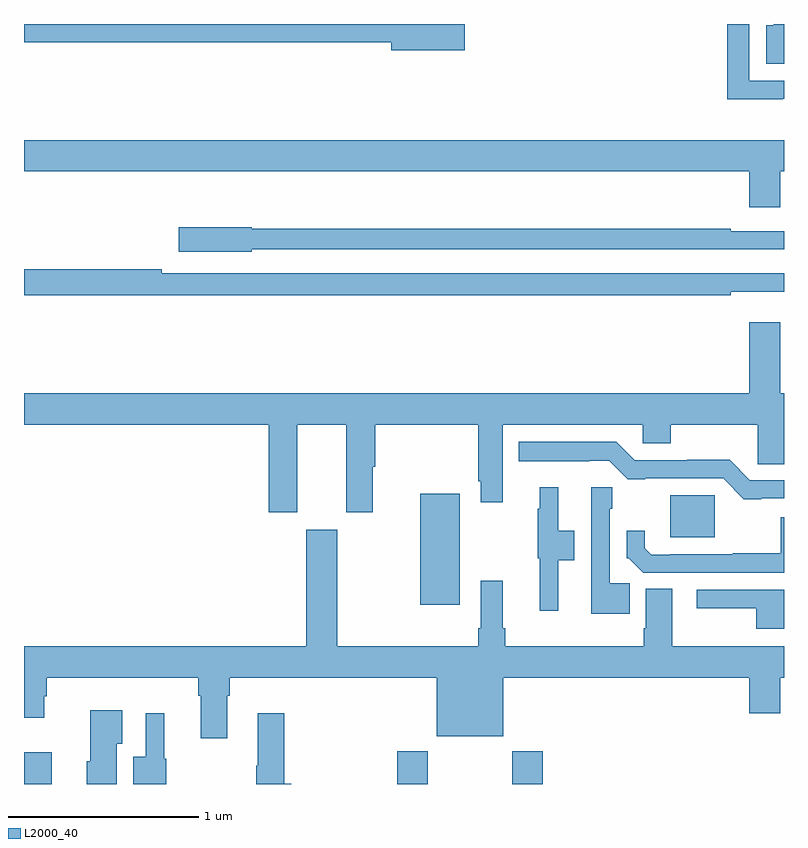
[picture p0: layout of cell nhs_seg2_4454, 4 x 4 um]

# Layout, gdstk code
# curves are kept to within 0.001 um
import gdstk
lib = gdstk.Library(unit=1e-6, precision=1e-09)
def R(c, l, rs):  # rectangles x0, y0, x1, y1
    for r in rs: c.add(gdstk.rectangle(r[:2], r[2:], *l))
def P(c, l, *ps):  # polygons
    for p in ps: c.add(gdstk.Polygon(p, *l))
L2000_40 = (2000, 40)

nhs_seg2_4454 = lib.new_cell('nhs_seg2_4454')
R(nhs_seg2_4454, L2000_40, [(353,589.8,353.146,589.966), (354.965,589.8,355.125,589.972), (355.57,589.8,355.73,589.972), (355.085,590.744,355.294,591.328), (356.402,591.098,356.635,591.319)])
P(nhs_seg2_4454, L2000_40, [(356.993,593.406),(357,593.406),(357,593.502),(356.817,593.502),(356.817,593.8),(356.701,593.8),(356.701,593.405),(356.993,593.405)],
  [(357,593.8),(356.945,593.8),(356.945,593.794),(356.906,593.794),(356.906,593.591),(357,593.591)],
  [(355.321,593.8),(353,593.8),(353,593.704),(354.932,593.704),(354.932,593.662),(355.321,593.662)],
  [(356.98,593.024),(357,593.024),(357,593.188),(353,593.188),(353,593.024),(356.816,593.024),(356.816,592.836),(356.98,592.836)],
  [(354.198,592.614),(357,592.614),(357,592.71),(356.72,592.71),(356.72,592.723),(354.198,592.723),(354.198,592.731),(353.814,592.731),(353.814,592.601),(354.198,592.601)],
  [(356.72,592.391),(357,592.391),(357,592.488),(353.726,592.488),(353.726,592.508),(353,592.508),(353,592.372),(356.72,592.372)],
  [(354.439,591.692),(354.695,591.692),(354.695,591.231),(354.835,591.231),(354.835,591.47),(354.848,591.47),(354.848,591.692),(355.391,591.692),(355.391,591.394),(355.403,591.394),(355.403,591.282),(355.519,591.282),(355.519,591.692),(356.256,591.692),(356.256,591.594),(356.403,591.594),(356.403,591.692),(356.862,591.692),(356.862,591.484),(357,591.484),(357,591.856),(356.98,591.856),(356.98,592.231),(356.816,592.231),(356.816,591.856),(353,591.856),(353,591.692),(354.287,591.692),(354.287,591.231),(354.439,591.231)],
  [(356.881,591.303),(357,591.303),(357,591.399),(356.82,591.399),(356.714,591.506),(356.491,591.506),(356.491,591.504),(356.214,591.504),(356.117,591.601),(355.604,591.601),(355.604,591.5),(356.079,591.501),(356.177,591.403),(356.269,591.403),(356.269,591.408),(356.679,591.408),(356.789,591.298),(356.881,591.298)],
  [(356.188,590.857),(356.082,590.857),(356.082,591.248),(356.095,591.248),(356.095,591.361),(355.986,591.361),(355.986,590.696),(356.188,590.696)],
  [(355.813,590.977),(355.897,590.977),(355.897,591.132),(355.813,591.132),(355.813,591.361),(355.715,591.361),(355.715,591.248),(355.704,591.248),(355.704,590.988),(355.715,590.988),(355.715,590.712),(355.813,590.712)],
  [(357,591.205),(356.982,591.205),(356.982,591.014),(356.731,591.014),(356.731,591.009),(356.401,591.009),(356.401,591.006),(356.302,591.006),(356.267,591.042),(356.267,591.133),(356.172,591.133),(356.172,590.988),(356.183,590.988),(356.258,590.913),(357,590.913)],
  [(354.07,590.264),(354.083,590.264),(354.083,590.36),(355.172,590.36),(355.172,590.051),(355.522,590.051),(355.522,590.36),(356.816,590.36),(356.816,590.172),(356.98,590.172),(356.98,590.36),(357,590.36),(357,590.524),(356.413,590.524),(356.413,590.828),(356.273,590.828),(356.273,590.62),(356.261,590.62),(356.261,590.524),(355.532,590.524),(355.532,590.62),(355.519,590.62),(355.519,590.869),(355.403,590.869),(355.403,590.62),(355.391,590.62),(355.391,590.524),(354.649,590.524),(354.649,591.139),(354.485,591.139),(354.485,590.524),(353,590.524),(353,590.148),(353.107,590.148),(353.107,590.262),(353.12,590.262),(353.12,590.36),(353.918,590.36),(353.918,590.264),(353.93,590.264),(353.93,590.04),(354.07,590.04)],
  [(357,590.823),(356.541,590.823),(356.541,590.726),(356.854,590.726),(356.854,590.616),(357,590.616)],
  [(353.488,590.012),(353.518,590.012),(353.518,590.188),(353.348,590.188),(353.348,589.92),(353.33,589.92),(353.33,589.8),(353.488,589.8)],
  [(354.406,589.801),(354.371,589.801),(354.371,590.173),(354.23,590.173),(354.23,589.897),(354.223,589.897),(354.223,589.8),(354.406,589.8)],
  [(353.749,589.932),(353.738,589.932),(353.738,590.173),(353.64,590.173),(353.64,589.944),(353.576,589.944),(353.576,589.8),(353.749,589.8)])

lib.write_gds('nhs_seg2_4454.gds')
